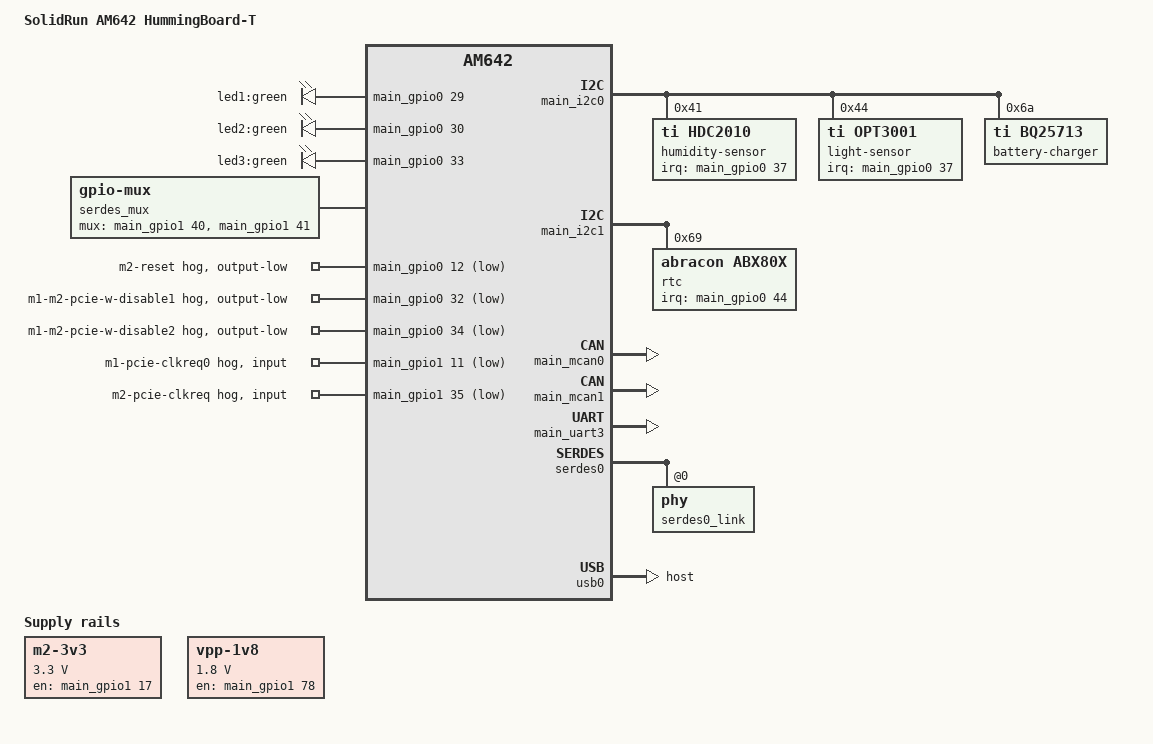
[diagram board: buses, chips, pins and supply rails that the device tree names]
// SPDX-License-Identifier: GPL-2.0+
/*
 * Copyright (C) 2023 Josua Mayer <josua@solid-run.com>
 *
 * DTS for SolidRun AM642 HummingBoard-T,
 * running on Cortex A53.
 *
 */

/dts-v1/;

#include <dt-bindings/phy/phy.h>

#include "k3-am642.dtsi"
#include "k3-am642-sr-som.dtsi"

/ {
	model = "SolidRun AM642 HummingBoard-T";
	compatible = "solidrun,am642-hummingboard-t", "solidrun,am642-sr-som", "ti,am642";

	aliases {
		serial5 = &main_uart3;
	};

	leds {
		compatible = "gpio-leds";
		pinctrl-names = "default";
		pinctrl-0 = <&leds_pins_default>;
		status = "okay";

		/* D24 */
		led1: led-1 {
			label = "led1:green";
			gpios = <&main_gpio0 29 GPIO_ACTIVE_HIGH>;
		};

		/* D25 */
		led2: led-2 {
			label = "led2:green";
			gpios = <&main_gpio0 30 GPIO_ACTIVE_HIGH>;
		};

		/* D26 */
		led3: led-3 {
			label = "led3:green";
			gpios = <&main_gpio0 33 GPIO_ACTIVE_HIGH>;
		};
	};

	regulator-m2-3v3 {
		compatible = "regulator-fixed";
		pinctrl-names = "default";
		pinctrl-0 = <&regulator_pcie_3v3_pins_default>;
		regulator-name = "m2-3v3";
		regulator-min-microvolt = <3300000>;
		regulator-max-microvolt = <3300000>;
		gpio = <&main_gpio1 17 GPIO_ACTIVE_HIGH>;
		enable-active-high;
		regulator-always-on;
	};

	regulator-vpp-1v8 {
		compatible = "regulator-fixed";
		pinctrl-names = "default";
		pinctrl-0 = <&regulator_vpp_1v8_pins_default>;
		regulator-name = "vpp-1v8";
		regulator-min-microvolt = <1800000>;
		regulator-max-microvolt = <1800000>;
		gpio = <&main_gpio1 78 GPIO_ACTIVE_HIGH>;
		enable-active-high;
	};

	serdes_mux: mux-controller {
		compatible = "gpio-mux";
		pinctrl-names = "default";
		pinctrl-0 = <&serdes_mux_pins_default>;
		#mux-control-cells = <0>;
		/*
		 * Mux has 2 IOs:
		 * - select: 0 = USB-3 (M2); 1 = PCIE (M1)
		 * - shutdown: 0 = active; 1 = disabled (high impedance)
		 */
		mux-gpios = <&main_gpio1 40 GPIO_ACTIVE_HIGH>, <&main_gpio1 41 GPIO_ACTIVE_HIGH>;
		/* default disabled */
		idle-state = <2>;
	};
};

&main_gpio0 {
	m2-reset-hog {
		gpio-hog;
		gpios = <12 GPIO_ACTIVE_LOW>;
		output-low; /* deasserted */
		line-name = "m2-reset";
	};

	m1-m2-w-disable1-hog {
		gpio-hog;
		gpios = <32 GPIO_ACTIVE_LOW>;
		output-low; /* deasserted */
		line-name = "m1-m2-pcie-w-disable1";
	};

	m1-m2-w_disable2-hog {
		gpio-hog;
		gpios = <34 GPIO_ACTIVE_LOW>;
		output-low; /* deasserted */
		line-name = "m1-m2-pcie-w-disable2";
	};
};

&main_gpio1 {
	status = "okay";

	m1-pcie-clkreq0-hog {
		gpio-hog;
		gpios = <11 GPIO_ACTIVE_LOW>;
		input;
		line-name = "m1-pcie-clkreq0";
	};

	m2-pcie-clkreq-hog {
		gpio-hog;
		gpios = <35 GPIO_ACTIVE_LOW>;
		input;
		line-name = "m2-pcie-clkreq";
	};
};

&main_i2c0 {
	pinctrl-0 = <&main_i2c0_pins_default>, <&main_i2c0_int_pins_default>;

	humidity-sensor@41 {
		compatible = "ti,hdc2010";
		reg = <0x41>;
		interrupt-parent = <&main_gpio0>;
		interrupts = <37 IRQ_TYPE_EDGE_FALLING>;
		status = "okay";
	};

	light-sensor@44 {
		compatible = "ti,opt3001";
		reg = <0x44>;
		interrupt-parent = <&main_gpio0>;
		interrupts = <37 IRQ_TYPE_EDGE_FALLING>;
		status = "okay";
	};

	battery-charger@6a {
		compatible = "ti,bq25713";
		reg = <0x6a>;
		status = "okay";
	};
};

&main_i2c1 {
	pinctrl-names = "default";
	pinctrl-0 = <&main_i2c1_pins_default>, <&main_i2c1_int_pins_default>;
	status = "okay";

	rtc: am1805aq@69 {
		compatible = "abracon,abx80x";
		reg = <0x69>;
		abracon,tc-diode = "schottky";
		abracon,tc-resistor = <3>;
		interrupt-parent = <&main_gpio0>;
		interrupts = <44 IRQ_TYPE_EDGE_FALLING>;
		status = "okay";
	};
};

&main_mcan0 {
	pinctrl-names = "default";
	pinctrl-0 = <&main_mcan0_pins_default>;
	status = "okay";

	can-transceiver {
		max-bitrate = <8000000>;
	};
};

&main_mcan1 {
	pinctrl-names = "default";
	pinctrl-0 = <&main_mcan1_pins_default>;
	status = "okay";

	can-transceiver {
		max-bitrate = <8000000>;
	};
};

&main_pmx0 {
	leds_pins_default: leds-pins-default {
		pinctrl-single,pins = <
			AM64X_IOPAD(0x0074, PIN_OUTPUT, 7)	/* GPMC0_AD14.GPIO0_29 */
			AM64X_IOPAD(0x0078, PIN_OUTPUT, 7)	/* GPMC0_AD15.GPIO0_30 */
			AM64X_IOPAD(0x0088, PIN_OUTPUT, 7)	/* GPMC0_OEn_REn.GPIO0_33 */
		>;
	};

	main_i2c0_int_pins_default: main-i2c0-pins-int-default {
		pinctrl-single,pins = <
			/* external pull-up on Carrier */
			AM64X_IOPAD(0x0098, PIN_INPUT, 7)	/* GPMC0_WAIT0.GPIO0_37 */
		>;
	};

	main_i2c1_pins_default: main-i2c1-pins-default {
		pinctrl-single,pins = <
			/* external pull-up on SoM */
			AM64X_IOPAD(0x0268, PIN_INPUT, 0)	/* I2C1_SCL.I2C1_SCL */
			AM64X_IOPAD(0x026c, PIN_INPUT, 0)	/* I2C1_SDA.I2C1_SDA */
		>;
	};

	main_i2c1_int_pins_default: main-i2c1-int-pins-default {
		pinctrl-single,pins = <
			/* external pull-up on Carrier */
			AM64X_IOPAD(0x00b4, PIN_INPUT, 7)	/* GPMC0_CSn3.GPIO0_44 */
		>;
	};

	main_mcan0_pins_default: main-mcan0-pins-default {
		pinctrl-single,pins = <
			AM64X_IOPAD(0x0254, PIN_INPUT, 0)	/* MCAN0_RX.MCAN0_RX */
			AM64X_IOPAD(0x0250, PIN_OUTPUT, 0)	/* MCAN0_TX.MCAN0_TX */
		>;
	};

	main_mcan1_pins_default: main-mcan1-pins-default {
		pinctrl-single,pins = <
			AM64X_IOPAD(0x025c, PIN_INPUT, 0)	/* MCAN1_RX.MCAN1_RX */
			AM64X_IOPAD(0x0258, PIN_OUTPUT, 0)	/* MCAN1_TX.MCAN1_TX */
		>;
	};

	main_uart3_pins_default: main-uart3-pins-default {
		pinctrl-single,pins = <
			AM64X_IOPAD(0x016c, PIN_INPUT, 10)	/* PRG0_PRU0_GPO3.UART3_CTSn */
			AM64X_IOPAD(0x0170, PIN_OUTPUT, 10)	/* PRG0_PRU0_GPO4.UART3_TXD */
			AM64X_IOPAD(0x0174, PIN_OUTPUT, 10)	/* PRG0_PRU0_GPO5.UART3_RTSn */
			AM64X_IOPAD(0x01ac, PIN_INPUT, 10)	/* PRG0_PRU0_GPO19.UART3_RXD */
		>;
	};

	pcie0_pins_default: pcie0-pins-default {
		pinctrl-single,pins = <
			/* connector M2 RESET */
			AM64X_IOPAD(0x0030, PIN_OUTPUT, 7)	/* OSPI0_CSn1.GPIO0_12 */
			/* connectors M1 & M2 W_DISABLE1 */
			AM64X_IOPAD(0x0084, PIN_OUTPUT, 7)	/* GPMC0_ADVN_ALE.GPIO0_32 */
			/* connectors M1 & M2 W_DISABLE2 */
			AM64X_IOPAD(0x008c, PIN_OUTPUT, 7)	/* GPMC0_WEN.GPIO0_34 */
			/* connectors M1 & M2 PERST0 (PCI Reset) */
			AM64X_IOPAD(0x019c, PIN_OUTPUT, 7)	/* PRG0_PRU0_GPO15.GPIO1_15 */
			/* connector M1 CLKREQ0 */
			AM64X_IOPAD(0x018c, PIN_INPUT, 7)	/* PRG0_PRU0_GPO11.GPIO1_11 */
			/* connector M2 CLKREQ0 */
			AM64X_IOPAD(0x01ec, PIN_INPUT, 7)	/* PRG0_PRU1_GPO15.GPIO1_35 */
		>;
	};

	regulator_pcie_3v3_pins_default: regulator-pcie-3v3-pins-default {
		pinctrl-single,pins = <
			AM64X_IOPAD(0x01a4, PIN_OUTPUT, 7)	/* PRG0_PRU0_GPO17.GPIO1_17 */
		>;
	};

	regulator_vpp_1v8_pins_default: regulator-vpp-1v8-pins-default {
		pinctrl-single,pins = <
			AM64X_IOPAD(0x029c, PIN_OUTPUT, 7)	/* MMC1_SDWP.GPIO1_78 */
		>;
	};

	serdes_mux_pins_default: serdes-mux-pins-default {
		pinctrl-single,pins = <
			/* SEL, 10k pull-down on carrier, 2.2k pullup on SoM */
			AM64X_IOPAD(0x0200, PIN_OUTPUT, 7)	/* PRG0_MDIO0_MDIO.GPIO1_40 */
			/* EN */
			AM64X_IOPAD(0x0204, PIN_OUTPUT, 7)	/* PRG0_MDIO0_MDC.GPIO1_41 */
		>;
	};
};

&main_uart3 {
	pinctrl-names = "default";
	pinctrl-0 = <&main_uart3_pins_default>;
	uart-has-rtscts;
	rs485-rts-active-low;
	linux,rs485-enabled-at-boot-time;
	status = "okay";
};

&pcie0_rc {
	pinctrl-names = "default";
	pinctrl-0 = <&pcie0_pins_default>;
	reset-gpios = <&main_gpio1 15 GPIO_ACTIVE_HIGH>;
	phys = <&serdes0_link>;
	phy-names = "pcie-phy";
	num-lanes = <1>;
	mux-controls = <&serdes_mux>;
	mux-control-names = "serdes";
	status = "disabled";
};

&pcie0_ep {
	phys = <&serdes0_link>;
	phy-names = "pcie-phy";
	num-lanes = <1>;
	status = "disabled";
};

&serdes0 {
	/*
	 * Serdes Signals are routed via mux to either m.2 connectors:
	 * - M1: USB-3.1
	 * - M2: PCI-E
	 */
	status = "okay";

	serdes0_link: phy@0 {
		reg = <0>;
		cdns,num-lanes = <1>;
		#phy-cells = <0>;
		cdns,phy-type = <PHY_NONE>;
		resets = <&serdes_wiz0 1>;
		status = "okay";
	};
};

&usb0 {
	dr_mode = "host";
};
